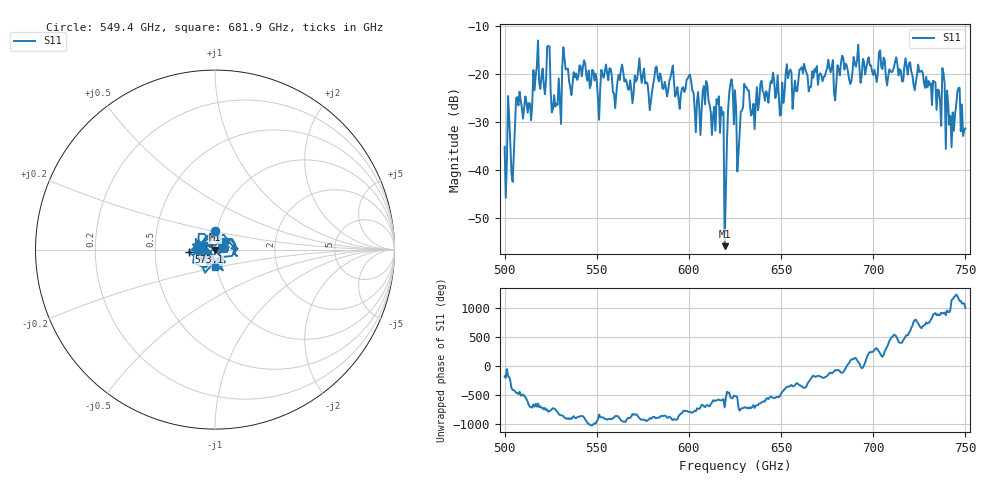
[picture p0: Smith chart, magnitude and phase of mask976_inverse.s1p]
!Created with skrf (http://scikit-rf.org).
# GHz S MA R 50.0
!freq magS11 angS11
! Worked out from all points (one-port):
!   401 points, 500 GHz to 750 GHz, reference 50 ohm
!   lowest |S11| = -55.8 dB at 619.4 GHz (marker M1), VSWR 1.00, Z = 50.2 + j0.0228 ohm
!   |S11| at or under -10 dB: start of sweep to end of sweep
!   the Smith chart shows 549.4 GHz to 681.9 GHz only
!   S11 on the Smith chart (normalised r, x): 549.4 GHz: 0.98, +0.20; 573.1 GHz: 0.75, -0.02; 681.9 GHz: 0.99, -0.19
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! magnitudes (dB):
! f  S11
! 500 GHz  -35.1
! 504.4 GHz  -42.4
! 507.5 GHz  -26.5
! 513.8 GHz  -26.1
! 516.9 GHz  -20.2
! 523.8 GHz  -14.1
! 526.9 GHz  -24.4
! 531.2 GHz  -18.7
! 549.4 GHz  -19.9
! 562.5 GHz  -21.2
! 573.1 GHz  -16.7
! 593.8 GHz  -22.7
! 616.2 GHz  -24.6
! 619.4 GHz  -55.8
! 620.6 GHz  -34.3
! 622.5 GHz  -22.0
! 625 GHz  -23.3
! 627.5 GHz  -32.5
! 631.2 GHz  -22.7
! 634.4 GHz  -28.1
! 656.2 GHz  -27.2
! 681.9 GHz  -20.2
! 687.5 GHz  -22.0
! 718.8 GHz  -20.1
! 738.8 GHz  -21.9
! 742.5 GHz  -35.2
! 745.6 GHz  -23.7
! 750 GHz  -31.3
